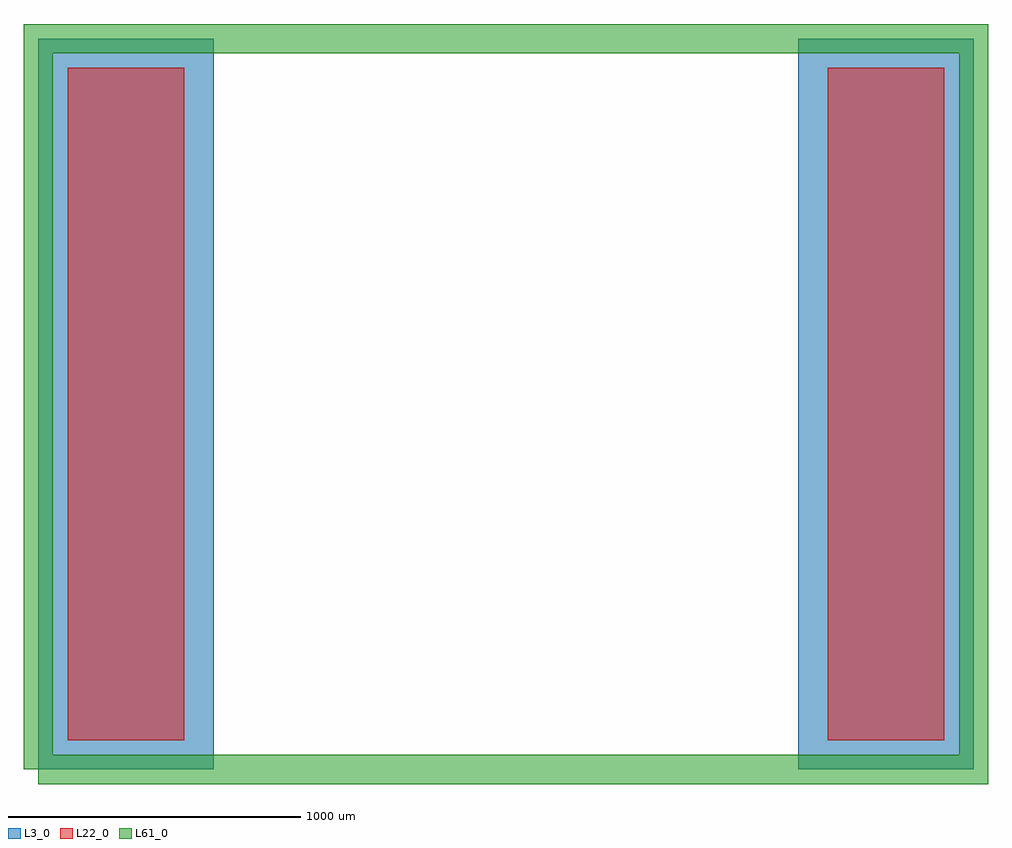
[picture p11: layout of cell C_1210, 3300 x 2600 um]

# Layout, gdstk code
import gdstk
lib = gdstk.Library(unit=1e-6, precision=1e-09)
def R(c, l, rs):  # rectangles x0, y0, x1, y1
    for r in rs: c.add(gdstk.rectangle(r[:2], r[2:], *l))
L3_0 = (3, 0)
L22_0 = (22, 0)
L61_0 = (61, 0)

c_1210 = lib.new_cell('C_1210')
R(c_1210, L3_0, [(-1600,-1250,-1000,1250), (1000,-1250,1600,1250)])
R(c_1210, L22_0, [(-1500,-1150,-1100,1150), (1100,-1150,1500,1150)])
c_1210.add(gdstk.FlexPath([(-1600,-1250),(1600,-1250),(1600,1250),(-1600,1250),(-1600,-1250)], 100, ends="flush", simple_path=True, layer=61, datatype=0))  # L61_0

lib.write_gds('C_1210.gds')
